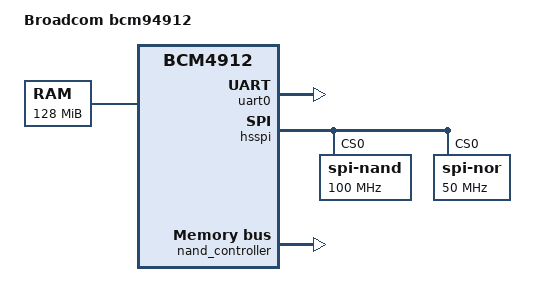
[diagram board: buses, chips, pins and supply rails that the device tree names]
// SPDX-License-Identifier: GPL-2.0+
/*
 *  Copyright 2020 Broadcom Ltd.
 */

/dts-v1/;

#include "bcm4912.dtsi"

/ {
	model = "Broadcom bcm94912";
	compatible = "broadcom,bcm94912", "brcm,bcm4912";

	aliases {
		serial0 = &uart0;
		spi1 = &hsspi;
	};

	chosen {
		stdout-path = "serial0:115200n8";
	};

	memory {
		device_type = "memory";
		reg = <0x0 0x0 0x0 0x08000000>;
	};
	boot_state {
		bootph-all;
		compatible = "brcm,bcmbca-bootstate-v2";
		reg-names = "reset_reason", "reset_status";
		reg =   <0x0 0xff802628 0x0 0x04>,
			<0x0 0xff85a01c 0x0 0x04>;
	};
};

&uart0 {
	bootph-all;
	status = "okay";
};

&hsspi {
	status = "okay";
	spi-nand {
		pinctrl-0 = <&hs_spim_ss_0_b_pin_24>;
		pinctrl-names = "default";
		compatible = "spi-nand";
		reg = <0>;
		#address-cells = <1>;
		#size-cells = <0>;
		bootph-all;
		spi-max-frequency = <100000000>;
	};

	spi-nor@0 {
		pinctrl-0 = <&hs_spim_ss_0_b_pin_24>;
		pinctrl-names = "default";
		compatible = "jedec,spi-nor";
		reg = <0>;
		#address-cells = <1>;
		#size-cells = <0>;
		spi-max-frequency = <50000000>;
		bootph-all;
	};
};

&nand_controller {
	pinctrl-0 = <&nand_data_pins &nand_ctrl_pins &nand_wp_b_pin_25>;
	pinctrl-names = "default";

	brcm,wp-not-connected;
	status = "okay";
};

&nandcs {
	nand-on-flash-bbt;
	brcm,nand-ecc-use-strap;
};

&mdio {
	phy_gphy0 {
		status = "okay";
	};

	phy_gphy1 {
		status = "okay";
	};

	phy_gphy2 {
		status = "okay";
	};

	phy_gphy3 {
		status = "okay";
	};
};

&switch0 {
	ports {
		port_gphy0 {
			status = "okay";
		};

		port_gphy1 {
			status = "okay";
		};

		port_gphy2 {
			status = "okay";
		};

		port_gphy3 {
			status = "okay";
		};
	};
};

